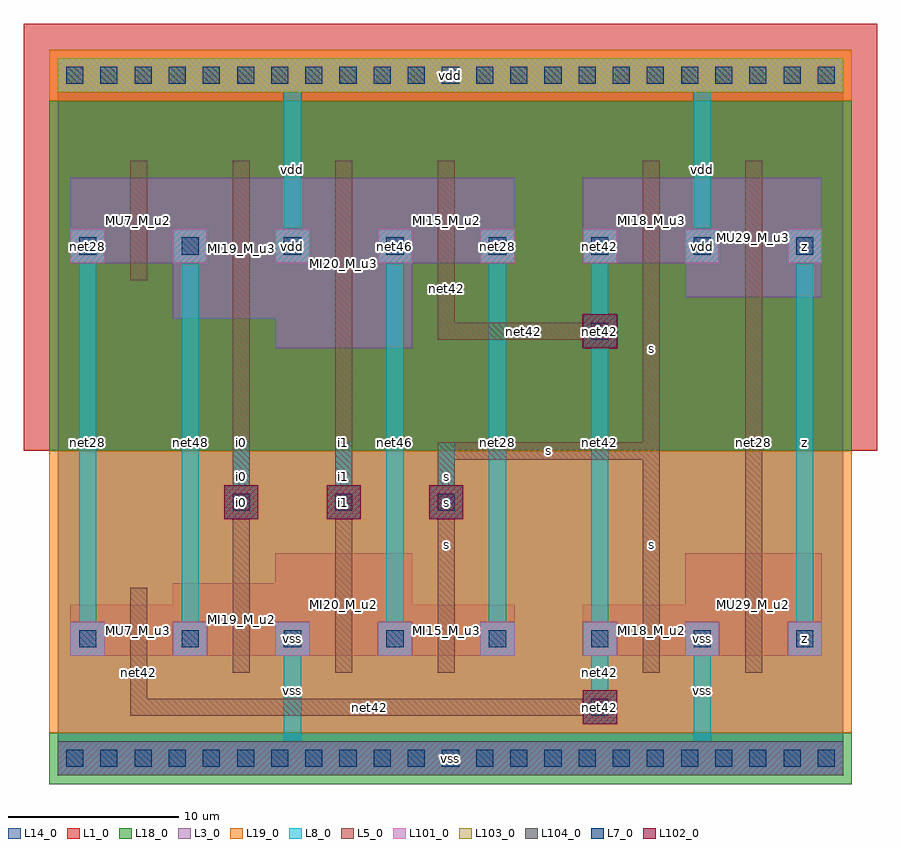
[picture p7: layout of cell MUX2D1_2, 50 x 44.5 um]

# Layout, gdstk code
import gdstk
lib = gdstk.Library(unit=1e-6, precision=1e-09)
def R(c, l, rs):  # rectangles x0, y0, x1, y1
    for r in rs: c.add(gdstk.rectangle(r[:2], r[2:], *l))
def A(c, l, x, y, w, h, nx, ny, dx, dy):  # array of equal rectangles
    R(c, l, [(x+i*dx, y+j*dy, x+i*dx+w, y+j*dy+h) for i in range(nx) for j in range(ny)])
L1_0 = (1, 0)
L3_0 = (3, 0)
L5_0 = (5, 0)
L7_0 = (7, 0)
L8_0 = (8, 0)
L13_0 = (13, 0)
L14_0 = (14, 0)
L18_0 = (18, 0)
L19_0 = (19, 0)
L101_0 = (101, 0)
L102_0 = (102, 0)
L103_0 = (103, 0)
L104_0 = (104, 0)

mux2d1_2 = lib.new_cell('MUX2D1_2')
R(mux2d1_2, L1_0, [(-2,18,48,43)])
A(mux2d1_2, L3_0, 0.75, 6, 2, 2, 8, 2, 6, 23)
R(mux2d1_2, L3_0, [(0,-1,46,1), (0,-1,46,1), (0.75,6,8.75,9), (6.75,6,14.75,10.25), (12.75,6,20.75,12), (18.75,6,26.75,9), (30.75,6,38.75,9), (36.75,6,44.75,12), (12.75,24,20.75,34), (6.75,25.75,14.75,34), (36.75,27,44.75,34), (0.75,29,8.75,34), (18.75,29,26.75,34), (30.75,29,38.75,34), (0,39,46,41), (0,39,46,41)])
A(mux2d1_2, L5_0, 9.75, 14, 2, 2, 3, 1, 6, 0)
R(mux2d1_2, L5_0, [(30.75,2,32.75,4), (4.25,2.5,5.25,7.5), (4.25,2.5,32.25,3.5), (4.25,5,5.25,10), (10.25,5,11.25,11.25), (16.25,5,17.25,13), (22.25,5,23.25,10), (34.25,5,35.25,10), (40.25,5,41.25,13), (10.25,6.5,11.25,30.5), (16.25,6.5,17.25,30.5), (22.25,6.5,23.25,18.5), (34.25,6.5,35.25,18.5), (40.25,6.5,41.25,30.5), (22.25,17.5,35.25,18.5), (34.25,17.5,35.25,30.5), (16.25,23,17.25,35), (30.75,24,32.75,26), (22.25,24.5,23.25,30.5), (22.25,24.5,32.25,25.5), (10.25,24.75,11.25,35), (40.25,26,41.25,35), (4.25,28,5.25,35), (22.25,28,23.25,35), (34.25,28,35.25,35)])
A(mux2d1_2, L7_0, 0.5, -0.5, 1, 1, 23, 2, 2, 40)
A(mux2d1_2, L7_0, 1.25, 6.5, 1, 1, 8, 2, 6, 23)
A(mux2d1_2, L7_0, 10.25, 14.5, 1, 1, 3, 1, 6, 0)
R(mux2d1_2, L7_0, [(31.25,2.5,32.25,3.5), (31.25,24.5,32.25,25.5)])
A(mux2d1_2, L8_0, 0.75, 6, 2, 2, 8, 2, 6, 23)
A(mux2d1_2, L8_0, 19.25, 6.5, 1, 24, 3, 1, 6, 0)
A(mux2d1_2, L8_0, 9.75, 14, 2, 2, 3, 1, 6, 0)
A(mux2d1_2, L8_0, 10.25, 14.5, 1, 4, 3, 1, 6, 0)
R(mux2d1_2, L8_0, [(0,-1,46,1), (13.25,0.5,14.25,7.5), (37.25,0.5,38.25,7.5), (30.75,2,32.75,4), (31.25,2.5,32.25,7.5), (1.25,6.5,2.25,30.5), (7.25,6.5,8.25,30.5), (43.25,6.5,44.25,30.5), (30.75,24,32.75,26), (13.25,29.5,14.25,39.5), (37.25,29.5,38.25,39.5), (0,39,46,41)])
R(mux2d1_2, L14_0, [(0,0,46,40)])
R(mux2d1_2, L18_0, [(-0.5,-1.5,46.5,1.5), (-0.5,18,46.5,38.5)])
R(mux2d1_2, L19_0, [(-0.5,1.5,46.5,18), (-0.5,38.5,46.5,41.5)])
A(mux2d1_2, L101_0, 0, -1, 2, 2, 23, 2, 2, 40)
A(mux2d1_2, L101_0, 0.75, 6, 2, 2, 8, 2, 6, 23)
A(mux2d1_2, L102_0, 9.75, 14, 2, 2, 3, 1, 6, 0)
R(mux2d1_2, L102_0, [(30.75,2,32.75,4), (30.75,24,32.75,26)])
R(mux2d1_2, L103_0, [(0,39,46,41)])
R(mux2d1_2, L104_0, [(0,-1,46,1)])
mux2d1_2.add(gdstk.FlexPath([(0.75,3),(44.75,3)], 0, ends="flush", simple_path=True, layer=13, datatype=0))  # L13_0
mux2d1_2.add(gdstk.FlexPath([(0.75,7),(44.75,7)], 0, ends="flush", simple_path=True, layer=13, datatype=0))  # L13_0
mux2d1_2.add(gdstk.FlexPath([(0.75,11),(44.75,11)], 0, ends="flush", simple_path=True, layer=13, datatype=0))  # L13_0
mux2d1_2.add(gdstk.FlexPath([(0.75,15),(44.75,15)], 0, ends="flush", simple_path=True, layer=13, datatype=0))  # L13_0
mux2d1_2.add(gdstk.FlexPath([(0.75,18),(44.75,18)], 0, ends="flush", simple_path=True, layer=13, datatype=0))  # L13_0
mux2d1_2.add(gdstk.FlexPath([(0.75,21),(44.75,21)], 0, ends="flush", simple_path=True, layer=13, datatype=0))  # L13_0
mux2d1_2.add(gdstk.FlexPath([(0.75,25),(44.75,25)], 0, ends="flush", simple_path=True, layer=13, datatype=0))  # L13_0
mux2d1_2.add(gdstk.FlexPath([(0.75,30),(44.75,30)], 0, ends="flush", simple_path=True, layer=13, datatype=0))  # L13_0
mux2d1_2.add(gdstk.FlexPath([(0.75,33),(44.75,33)], 0, ends="flush", simple_path=True, layer=13, datatype=0))  # L13_0
mux2d1_2.add(gdstk.FlexPath([(0.75,37),(44.75,37)], 0, ends="flush", simple_path=True, layer=13, datatype=0))  # L13_0
mux2d1_2.add(gdstk.FlexPath([(1.75,0.5),(1.75,39.5)], 0, ends="flush", simple_path=True, layer=13, datatype=0))  # L13_0
mux2d1_2.add(gdstk.FlexPath([(4.75,0.5),(4.75,39.5)], 0, ends="flush", simple_path=True, layer=13, datatype=0))  # L13_0
mux2d1_2.add(gdstk.FlexPath([(7.75,0.5),(7.75,39.5)], 0, ends="flush", simple_path=True, layer=13, datatype=0))  # L13_0
mux2d1_2.add(gdstk.FlexPath([(10.75,0.5),(10.75,39.5)], 0, ends="flush", simple_path=True, layer=13, datatype=0))  # L13_0
mux2d1_2.add(gdstk.FlexPath([(13.75,0.5),(13.75,39.5)], 0, ends="flush", simple_path=True, layer=13, datatype=0))  # L13_0
mux2d1_2.add(gdstk.FlexPath([(16.75,0.5),(16.75,39.5)], 0, ends="flush", simple_path=True, layer=13, datatype=0))  # L13_0
mux2d1_2.add(gdstk.FlexPath([(19.75,0.5),(19.75,39.5)], 0, ends="flush", simple_path=True, layer=13, datatype=0))  # L13_0
mux2d1_2.add(gdstk.FlexPath([(22.75,0.5),(22.75,39.5)], 0, ends="flush", simple_path=True, layer=13, datatype=0))  # L13_0
mux2d1_2.add(gdstk.FlexPath([(25.75,0.5),(25.75,39.5)], 0, ends="flush", simple_path=True, layer=13, datatype=0))  # L13_0
mux2d1_2.add(gdstk.FlexPath([(28.75,0.5),(28.75,39.5)], 0, ends="flush", simple_path=True, layer=13, datatype=0))  # L13_0
mux2d1_2.add(gdstk.FlexPath([(31.75,0.5),(31.75,39.5)], 0, ends="flush", simple_path=True, layer=13, datatype=0))  # L13_0
mux2d1_2.add(gdstk.FlexPath([(34.75,0.5),(34.75,39.5)], 0, ends="flush", simple_path=True, layer=13, datatype=0))  # L13_0
mux2d1_2.add(gdstk.FlexPath([(37.75,0.5),(37.75,39.5)], 0, ends="flush", simple_path=True, layer=13, datatype=0))  # L13_0
mux2d1_2.add(gdstk.FlexPath([(40.75,0.5),(40.75,39.5)], 0, ends="flush", simple_path=True, layer=13, datatype=0))  # L13_0
mux2d1_2.add(gdstk.FlexPath([(43.75,0.5),(43.75,39.5)], 0, ends="flush", simple_path=True, layer=13, datatype=0))  # L13_0
mux2d1_2.add(gdstk.Label('MI15_M_u3', (22.75,7.5), layer=3, texttype=0))
mux2d1_2.add(gdstk.Label('MU7_M_u3', (4.75,7.5), layer=3, texttype=0))
mux2d1_2.add(gdstk.Label('MI20_M_u2', (16.75,9), layer=3, texttype=0))
mux2d1_2.add(gdstk.Label('MI19_M_u2', (10.75,8.125), layer=3, texttype=0))
mux2d1_2.add(gdstk.Label('MI18_M_u2', (34.75,7.5), layer=3, texttype=0))
mux2d1_2.add(gdstk.Label('MU29_M_u2', (40.75,9), layer=3, texttype=0))
mux2d1_2.add(gdstk.Label('MI15_M_u2', (22.75,31.5), layer=3, texttype=0))
mux2d1_2.add(gdstk.Label('MU7_M_u2', (4.75,31.5), layer=3, texttype=0))
mux2d1_2.add(gdstk.Label('MI20_M_u3', (16.75,29), layer=3, texttype=0))
mux2d1_2.add(gdstk.Label('MI19_M_u3', (10.75,29.875), layer=3, texttype=0))
mux2d1_2.add(gdstk.Label('MI18_M_u3', (34.75,31.5), layer=3, texttype=0))
mux2d1_2.add(gdstk.Label('MU29_M_u3', (40.75,30.5), layer=3, texttype=0))
mux2d1_2.add(gdstk.Label('net46', (19.75,7), layer=3, texttype=0))
mux2d1_2.add(gdstk.Label('net46', (19.75,30), layer=3, texttype=0))
mux2d1_2.add(gdstk.Label('net28', (25.75,7), layer=3, texttype=0))
mux2d1_2.add(gdstk.Label('net28', (1.75,7), layer=3, texttype=0))
mux2d1_2.add(gdstk.Label('net28', (25.75,30), layer=3, texttype=0))
mux2d1_2.add(gdstk.Label('net28', (1.75,30), layer=3, texttype=0))
mux2d1_2.add(gdstk.Label('net48', (7.75,7), layer=3, texttype=0))
mux2d1_2.add(gdstk.Label('net48', (7.75,30), layer=3, texttype=0))
mux2d1_2.add(gdstk.Label('net42', (31.75,7), layer=3, texttype=0))
mux2d1_2.add(gdstk.Label('net42', (31.75,30), layer=3, texttype=0))
mux2d1_2.add(gdstk.Label('z', (43.75,7), layer=3, texttype=0))
mux2d1_2.add(gdstk.Label('z', (43.75,30), layer=3, texttype=0))
mux2d1_2.add(gdstk.Label('vss', (13.75,7), layer=3, texttype=0))
mux2d1_2.add(gdstk.Label('vss', (37.75,7), layer=3, texttype=0))
mux2d1_2.add(gdstk.Label('vdd', (13.75,30), layer=3, texttype=0))
mux2d1_2.add(gdstk.Label('vdd', (37.75,30), layer=3, texttype=0))
mux2d1_2.add(gdstk.Label('s', (22.75,12.5), layer=5, texttype=0))
mux2d1_2.add(gdstk.Label('s', (28.75,18), layer=5, texttype=0))
mux2d1_2.add(gdstk.Label('s', (34.75,24), layer=5, texttype=0))
mux2d1_2.add(gdstk.Label('s', (34.75,12.5), layer=5, texttype=0))
mux2d1_2.add(gdstk.Label('s', (22.75,15), layer=5, texttype=0))
mux2d1_2.add(gdstk.Label('net28', (40.75,18.5), layer=5, texttype=0))
mux2d1_2.add(gdstk.Label('net42', (4.75,5), layer=5, texttype=0))
mux2d1_2.add(gdstk.Label('net42', (18.25,3), layer=5, texttype=0))
mux2d1_2.add(gdstk.Label('net42', (31.75,3), layer=5, texttype=0))
mux2d1_2.add(gdstk.Label('net42', (22.75,27.5), layer=5, texttype=0))
mux2d1_2.add(gdstk.Label('net42', (27.25,25), layer=5, texttype=0))
mux2d1_2.add(gdstk.Label('net42', (31.75,25), layer=5, texttype=0))
mux2d1_2.add(gdstk.Label('i1', (16.75,18.5), layer=5, texttype=0))
mux2d1_2.add(gdstk.Label('i1', (16.75,15), layer=5, texttype=0))
mux2d1_2.add(gdstk.Label('i0', (10.75,18.5), layer=5, texttype=0))
mux2d1_2.add(gdstk.Label('i0', (10.75,15), layer=5, texttype=0))
mux2d1_2.add(gdstk.Label('net46', (19.75,7), layer=101, texttype=0))
mux2d1_2.add(gdstk.Label('net46', (19.75,30), layer=101, texttype=0))
mux2d1_2.add(gdstk.Label('net28', (25.75,7), layer=101, texttype=0))
mux2d1_2.add(gdstk.Label('net28', (1.75,7), layer=101, texttype=0))
mux2d1_2.add(gdstk.Label('net28', (25.75,30), layer=101, texttype=0))
mux2d1_2.add(gdstk.Label('net28', (1.75,30), layer=101, texttype=0))
mux2d1_2.add(gdstk.Label('net48', (7.75,7), layer=101, texttype=0))
mux2d1_2.add(gdstk.Label('net48', (7.75,30), layer=101, texttype=0))
mux2d1_2.add(gdstk.Label('net42', (31.75,7), layer=101, texttype=0))
mux2d1_2.add(gdstk.Label('net42', (31.75,30), layer=101, texttype=0))
mux2d1_2.add(gdstk.Label('z', (43.75,7), layer=101, texttype=0))
mux2d1_2.add(gdstk.Label('z', (43.75,30), layer=101, texttype=0))
mux2d1_2.add(gdstk.Label('vss', (13.75,7), layer=101, texttype=0))
mux2d1_2.add(gdstk.Label('vss', (37.75,7), layer=101, texttype=0))
mux2d1_2.add(gdstk.Label('vdd', (13.75,30), layer=101, texttype=0))
mux2d1_2.add(gdstk.Label('vdd', (37.75,30), layer=101, texttype=0))
mux2d1_2.add(gdstk.Label('s', (22.75,15), layer=102, texttype=0))
mux2d1_2.add(gdstk.Label('net42', (31.75,3), layer=102, texttype=0))
mux2d1_2.add(gdstk.Label('net42', (31.75,25), layer=102, texttype=0))
mux2d1_2.add(gdstk.Label('i1', (16.75,15), layer=102, texttype=0))
mux2d1_2.add(gdstk.Label('i0', (10.75,15), layer=102, texttype=0))
mux2d1_2.add(gdstk.Label('net46', (19.75,7), layer=8, texttype=0))
mux2d1_2.add(gdstk.Label('net46', (19.75,30), layer=8, texttype=0))
mux2d1_2.add(gdstk.Label('net46', (19.75,18.5), layer=8, texttype=0))
mux2d1_2.add(gdstk.Label('s', (22.75,15), layer=8, texttype=0))
mux2d1_2.add(gdstk.Label('s', (22.75,16.5), layer=8, texttype=0))
mux2d1_2.add(gdstk.Label('net28', (25.75,7), layer=8, texttype=0))
mux2d1_2.add(gdstk.Label('net28', (1.75,7), layer=8, texttype=0))
mux2d1_2.add(gdstk.Label('net28', (25.75,30), layer=8, texttype=0))
mux2d1_2.add(gdstk.Label('net28', (1.75,30), layer=8, texttype=0))
mux2d1_2.add(gdstk.Label('net28', (25.75,18.5), layer=8, texttype=0))
mux2d1_2.add(gdstk.Label('net28', (1.75,18.5), layer=8, texttype=0))
mux2d1_2.add(gdstk.Label('net48', (7.75,7), layer=8, texttype=0))
mux2d1_2.add(gdstk.Label('net48', (7.75,30), layer=8, texttype=0))
mux2d1_2.add(gdstk.Label('net48', (7.75,18.5), layer=8, texttype=0))
mux2d1_2.add(gdstk.Label('net42', (31.75,7), layer=8, texttype=0))
mux2d1_2.add(gdstk.Label('net42', (31.75,30), layer=8, texttype=0))
mux2d1_2.add(gdstk.Label('net42', (31.75,3), layer=8, texttype=0))
mux2d1_2.add(gdstk.Label('net42', (31.75,5), layer=8, texttype=0))
mux2d1_2.add(gdstk.Label('net42', (31.75,18.5), layer=8, texttype=0))
mux2d1_2.add(gdstk.Label('net42', (31.75,25), layer=8, texttype=0))
mux2d1_2.add(gdstk.Label('i1', (16.75,15), layer=8, texttype=0))
mux2d1_2.add(gdstk.Label('i1', (16.75,16.5), layer=8, texttype=0))
mux2d1_2.add(gdstk.Label('i0', (10.75,15), layer=8, texttype=0))
mux2d1_2.add(gdstk.Label('i0', (10.75,16.5), layer=8, texttype=0))
mux2d1_2.add(gdstk.Label('z', (43.75,7), layer=8, texttype=0))
mux2d1_2.add(gdstk.Label('z', (43.75,30), layer=8, texttype=0))
mux2d1_2.add(gdstk.Label('z', (43.75,18.5), layer=8, texttype=0))
mux2d1_2.add(gdstk.Label('vss', (13.75,7), layer=8, texttype=0))
mux2d1_2.add(gdstk.Label('vss', (13.75,4), layer=8, texttype=0))
mux2d1_2.add(gdstk.Label('vss', (37.75,7), layer=8, texttype=0))
mux2d1_2.add(gdstk.Label('vss', (37.75,4), layer=8, texttype=0))
mux2d1_2.add(gdstk.Label('vdd', (13.75,30), layer=8, texttype=0))
mux2d1_2.add(gdstk.Label('vdd', (13.75,34.5), layer=8, texttype=0))
mux2d1_2.add(gdstk.Label('vdd', (37.75,30), layer=8, texttype=0))
mux2d1_2.add(gdstk.Label('vdd', (37.75,34.5), layer=8, texttype=0))
mux2d1_2.add(gdstk.Label('vss', (23,0), layer=8, texttype=0))
mux2d1_2.add(gdstk.Label('vdd', (23,40), layer=8, texttype=0))

lib.write_gds('MUX2D1_2.gds')
